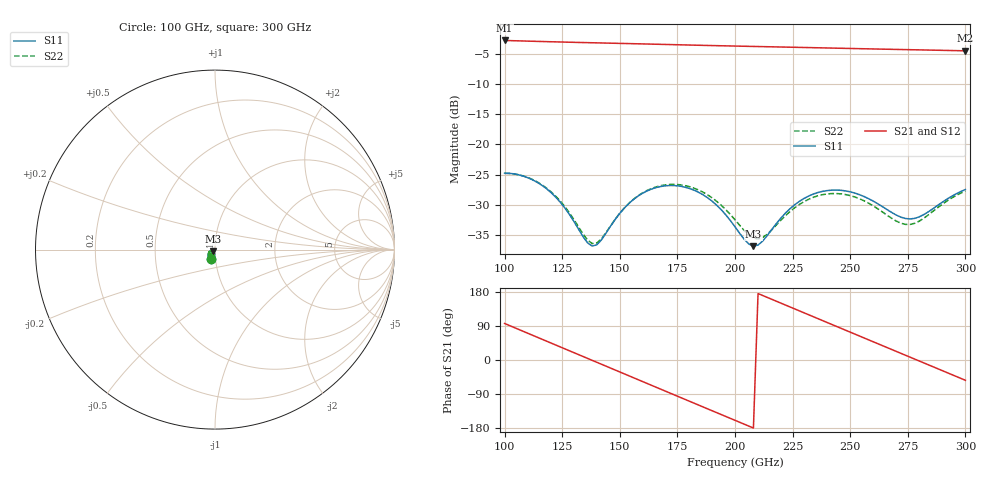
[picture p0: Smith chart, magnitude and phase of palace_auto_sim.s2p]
#  GHZ S DB R 50
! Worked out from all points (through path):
!   101 points, 100 GHz to 300 GHz, reference 50 ohm
!   highest |S21| = -2.75 dB at 100 GHz (marker M1); lowest = -4.5 dB at 300 GHz (marker M2)
!   group delay of S21, straight-line fit = 7.08 ps
!   lowest |S11| = -36.9 dB at 208 GHz (marker M3), VSWR 1.03, Z = 49 - j0.99 ohm
!   |S11| at or under -10 dB: start of sweep to end of sweep
!   |S22| runs from -36.4 to -24.8 dB; largest |S21 - S12| = 6.9e-14
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100  -24.75 -111.2  -2.75 96.4  -2.75 96.4  -24.79 -111.8
108  -25.22 -128.5  -2.84 75.9  -2.84 75.9  -25.21 -128.9
118  -27.28 -148.0  -2.95 50.3  -2.95 50.3  -27.17 -148.1
126  -30.45 -158.0  -3.03 29.8  -3.03 29.8  -30.23 -158.0
134  -35.25 -149.5  -3.10 9.3  -3.10 9.3  -34.81 -150.5
140  -36.64 -117.3  -3.15 -6.0  -3.15 -6.0  -36.34 -120.4
150  -31.41 -95.7  -3.24 -31.6  -3.24 -31.6  -31.39 -97.5
160  -28.06 -107.2  -3.33 -57.2  -3.33 -57.2  -28.00 -108.0
168  -26.94 -121.4  -3.40 -77.6  -3.40 -77.6  -26.81 -121.8
182  -27.54 -147.1  -3.53 -113.3  -3.53 -113.3  -27.21 -146.9
192  -30.05 -161.2  -3.62 -138.8  -3.62 -138.8  -29.41 -160.9
200  -33.64 -162.0  -3.68 -159.2  -3.68 -159.2  -32.48 -163.2
208  -36.86 -135.3  -3.75 -179.6  -3.75 -179.6  -35.51 -144.8
212  -36.02 -116.6  -3.78 170.3  -3.78 170.3  -35.42 -129.1
220  -32.17 -103.8  -3.84 149.9  -3.84 149.9  -32.52 -113.2
234  -28.22 -117.1  -3.95 114.2  -3.95 114.2  -28.76 -122.6
242  -27.57 -128.9  -4.02 93.9  -4.02 93.9  -28.14 -133.5
250  -27.85 -140.0  -4.08 73.5  -4.08 73.5  -28.47 -144.1
268  -31.27 -148.0  -4.22 27.8  -4.22 27.8  -32.24 -149.9
276  -32.34 -135.2  -4.29 7.5  -4.29 7.5  -33.25 -134.1
284  -31.14 -122.0  -4.35 -12.9  -4.35 -12.9  -31.65 -120.0
300  -27.47 -126.0  -4.47 -53.5  -4.47 -53.5  -27.73 -125.9
